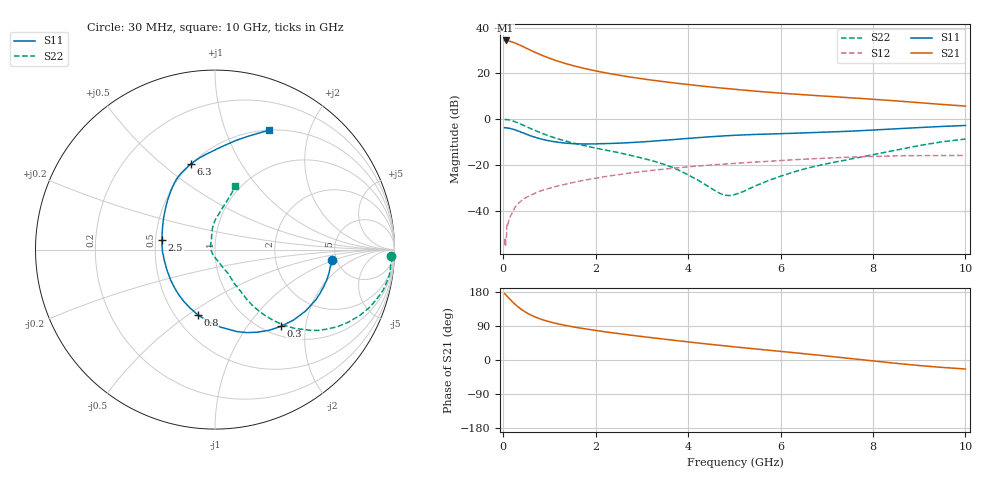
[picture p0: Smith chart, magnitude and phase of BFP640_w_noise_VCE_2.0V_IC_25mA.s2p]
! Infineon Technologies  Discrete & RF Semiconductors
! BFP640
! VCE =  2.0 V,  IC =  25 mA
! Common Emitter S-Parameters:  Apr 2013
# GHz  S  MA  R  50
!  f  S11  S21  S12  S22
! GHz  MAG  ANG  MAG  ANG  MAG  ANG  MAG  ANG
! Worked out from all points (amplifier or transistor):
!   99 points, 30 MHz to 10 GHz, reference 50 ohm
!   highest |S21| = 34.4 dB at 50 MHz (marker M1)
!   |S21| within 3 dB of that: start of sweep to 460.3 MHz
!   unconditionally stable (mu >= 1): 2.443 GHz to end of sweep
!   at 350 MHz: K = 0.33, MSG = 34.4 dB, |S12| = -36.3 dB
!   at 3.5 GHz: K = 1.04, MAG = 17.7 dB, |S12| = -21.7 dB
!   at 10 GHz: K = 1.07, MAG = 9.2 dB, |S12| = -15.8 dB
!   lowest NFmin = 0.95 dB at 450 MHz
!   S11 on the Smith chart (normalised r, x): 30 MHz: 4.59, -0.91; 300 MHz: 1.17, -1.46; 800 MHz: 0.64, -0.54; 2.5 GHz: 0.54, +0.07; 6.3 GHz: 0.50, +0.63; 10 GHz: 0.50, +1.43
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0.03  0.6537 -5.0  52.28 175.5  0.0018 93.1  0.9831 -2.2
0.05  0.649 -8.6  52.34 173.0  0.0017 117.6  0.984 -4.5
0.12  0.6356 -21.0  50.96 163.4  0.006 78.2  0.9681 -12.3
0.2  0.6095 -34.2  48.23 153.5  0.0093 74.9  0.9224 -20.2
0.25  0.5877 -42.0  46.26 147.7  0.0117 75.1  0.8849 -24.6
0.3  0.5634 -49.4  44.08 142.3  0.0138 72.9  0.8456 -28.6
0.4  0.5162 -63.1  39.67 132.9  0.0169 67.6  0.7661 -35.3
0.5  0.4724 -75.1  35.47 125.1  0.0198 65.0  0.6905 -40.6
0.6  0.4321 -86.2  31.77 118.5  0.0221 63.1  0.622 -44.8
0.7  0.4012 -95.8  28.53 113.1  0.0247 61.4  0.5636 -48.0
0.8  0.3751 -104.9  25.78 108.4  0.027 60.3  0.5126 -50.5
0.9  0.3541 -113.1  23.46 104.4  0.0291 59.5  0.4669 -52.5
1.1  0.3237 -127.9  19.75 97.7  0.0333 58.5  0.3964 -55.3
1.4  0.2989 -146.0  15.87 90.0  0.0393 57.0  0.3241 -57.5
1.7  0.2891 -161.1  13.25 83.6  0.0455 55.7  0.2727 -58.3
2.5  0.3006 169.4  9.147 69.7  0.0618 50.7  0.186 -60.6
3.4  0.3427 145.8  6.752 56.2  0.08 43.9  0.1097 -66.0
5.1  0.4504 117.8  4.413 33.5  0.1105 29.5  0.0244 165.4
6.3  0.4962 105.8  3.536 19.2  0.1308 19.3  0.0713 105.6
6.7  0.5118 101.3  3.322 14.2  0.1373 15.6  0.0915 100.9
8.5  0.6187 79.2  2.511 -8.8  0.1586 -2.6  0.2117 82.4
10  0.7301 65.6  1.937 -23.7  0.1621 -14.4  0.3695 72.4
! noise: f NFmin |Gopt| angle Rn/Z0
0.45  0.95  0.16  -171  0.01
0.9  0.96  0.18  -158  0.02
1.5  0.98  0.19  -144  0.04
1.9  1  0.21  -136  0.05
2.4  1.03  0.24  -121  0.06
3.5  1.15  0.26  -104  0.1
5.5  1.35  0.29  -94  0.17
10  1.83  0.59  -53  0.52
